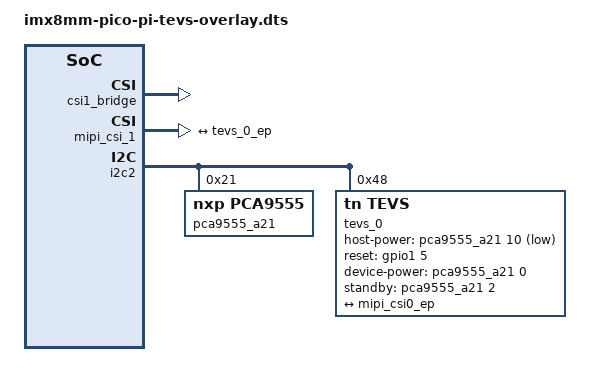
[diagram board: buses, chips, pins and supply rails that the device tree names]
// SPDX-License-Identifier: (GPL-2.0+ OR MIT)
/*
 * Copyright 2022 TechNexion Ltd.
 *
 */

/dts-v1/;
/plugin/;

#include <dt-bindings/interrupt-controller/irq.h>
#include <dt-bindings/clock/imx8mm-clock.h>
#include <dt-bindings/gpio/gpio.h>

/ {
	fragment@0 {
		target = <&csi1_bridge>;
		__overlay__ {
			status = "okay";
		};
	};

	fragment@1 {
		target = <&mipi_csi_1>;
		__overlay__ {
			status = "okay";
			#address-cells = <1>;
			#size-cells = <0>;

			port {
				mipi_csi0_ep: endpoint@1 {
					remote-endpoint = <&tevs_0_ep>;
					data-lanes = <2>;
					csis-hs-settle = <19>;
					csis-clk-settle = <2>;
					csis-wclk;
				};
			};
		};
	};

	fragment@2 {
		target = <&i2c2>;
		__overlay__ {
			#address-cells = <1>;
			#size-cells = <0>;
			status = "okay";

			pca9555_a21: pca9555@21 {
				compatible = "nxp,pca9555";
				reg = <0x21>;
				status = "okay";
				gpio-controller;
				#gpio-cells = <2>;
				gpio-line-names = "EXPOSURE_TRIG_IN1", "FLASH_OUT1", "INFO_TRIG_IN1", "CAM_SHUTTER1", "XVS1", "PWR1_TIME0", "PWR1_TIME1", "PWR1_TIME2",
									"EXPOSURE_TRIG_IN2", "FLASH_OUT2", "INFO_TRIG_IN2", "CAM_SHUTTER2", "XVS2", "PWR2_TIME0", "PWR2_TIME1", "PWR2_TIME2";
			};

			tevs_0: tevs@48 {
				compatible = "tn,tevs";
				reg = <0x48>;

				pinctrl-names = "default";
				pinctrl-0 = <&pinctrl_csi_rst>;

				host-power-gpios = <&pca9555_a21 10 GPIO_ACTIVE_LOW>;
				reset-gpios = <&gpio1 5 GPIO_ACTIVE_HIGH>;
				device-power-gpios = <&pca9555_a21 0 GPIO_ACTIVE_HIGH>;
				standby-gpios = <&pca9555_a21 2 GPIO_ACTIVE_HIGH>;

				data-lanes = <2>;
				continuous-clock = <0>;

				status = "okay";

				port {
					tevs_0_ep: endpoint {
						remote-endpoint = <&mipi_csi0_ep>;
					};
				};
			};
		};
	};
};
